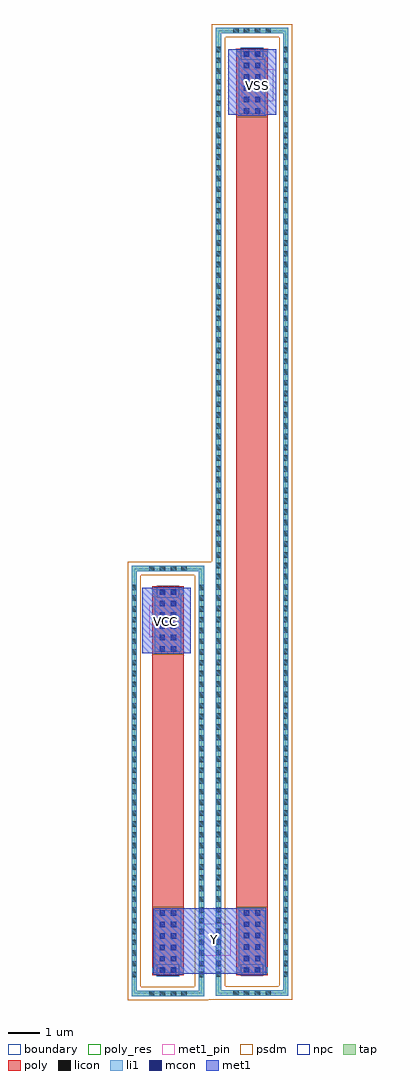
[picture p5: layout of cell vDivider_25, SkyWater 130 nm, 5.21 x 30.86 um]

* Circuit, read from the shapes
.subckt vDivider_25 VCC VSS Y
R1 VCC Y sky130_fd_pr__res_generic_po w=1 l=8
R2 VSS Y sky130_fd_pr__res_generic_po w=1 l=25
.ends

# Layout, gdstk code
import gdstk
lib = gdstk.Library(unit=1e-6, precision=1e-09)
def R(c, l, rs):  # rectangles x0, y0, x1, y1
    for r in rs: c.add(gdstk.rectangle(r[:2], r[2:], *l))
def A(c, l, x, y, w, h, nx, ny, dx, dy):  # array of equal rectangles
    R(c, l, [(x+i*dx, y+j*dy, x+i*dx+w, y+j*dy+h) for i in range(nx) for j in range(ny)])
tap = (65, 44)
poly_res = (66, 13)
poly = (66, 20)
licon = (66, 44)
li1 = (67, 20)
mcon = (67, 44)
met1_pin = (68, 16)
met1 = (68, 20)
psdm = (94, 20)
npc = (95, 20)
boundary = (235, 4)

sky130_fd_pr__res_generi = lib.new_cell('sky130_fd_pr__res_generic_po_FHUZEF')
R(sky130_fd_pr__res_generi, tap, [(-1.15,-6.8,1.15,-6.63), (-1.15,-6.63,-0.98,6.63), (0.98,-6.63,1.15,6.63), (-1.15,6.63,1.15,6.8)])
R(sky130_fd_pr__res_generi, poly_res, [(-0.5,-4,0.5,4)])
R(sky130_fd_pr__res_generi, poly, [(-0.5,-6.15,0.5,6.15)])
A(sky130_fd_pr__res_generi, licon, -0.595, -6.8, 0.17, 0.17, 4, 2, 0.34, 13.43)
A(sky130_fd_pr__res_generi, licon, -1.15, -6.205, 0.17, 0.17, 1, 37, 0, 0.34)
A(sky130_fd_pr__res_generi, licon, 0.98, -6.205, 0.17, 0.17, 1, 37, 0, 0.34)
R(sky130_fd_pr__res_generi, licon, [(-0.255,-6.07,-0.085,-5.9), (0.085,-6.07,0.255,-5.9), (-0.255,5.9,-0.085,6.07), (0.085,5.9,0.255,6.07)])
R(sky130_fd_pr__res_generi, li1, [(-1.15,-6.8,1.15,-6.63), (-1.15,-6.63,-0.98,6.63), (0.98,-6.63,1.15,6.63), (-0.5,-6.07,0.5,-5.9), (-0.42,-5.9,0.42,-4.085), (-0.42,4.085,0.42,5.9), (-0.5,5.9,0.5,6.07), (-1.15,6.63,1.15,6.8)])
A(sky130_fd_pr__res_generi, mcon, -0.265, -6.065, 0.17, 0.17, 1, 6, 0, 0.36)
A(sky130_fd_pr__res_generi, mcon, 0.095, -6.065, 0.17, 0.17, 1, 6, 0, 0.36)
A(sky130_fd_pr__res_generi, mcon, -0.265, 4.09, 0.17, 0.17, 1, 6, 0, 0.36)
A(sky130_fd_pr__res_generi, mcon, 0.095, 4.09, 0.17, 0.17, 1, 6, 0, 0.36)
R(sky130_fd_pr__res_generi, met1, [(-0.45,-6.13,0.45,-4.025), (-0.45,4.025,0.45,6.13)])
R(sky130_fd_pr__res_generi, psdm, [(-1.275,-6.925,1.275,-6.505), (-1.275,-6.505,-0.855,6.505), (0.855,-6.505,1.275,6.505), (-1.275,6.505,1.275,6.925)])
R(sky130_fd_pr__res_generi, npc, [(-0.355,-6.17,0.355,-5.8), (-0.355,5.8,0.355,6.17)])
R(sky130_fd_pr__res_generi, boundary, [(-1.065,-6.715,1.065,6.715)])

c_sky130_fd_pr__res_generi = lib.new_cell('sky130_fd_pr__res_generic_po_NSB5VY')
R(c_sky130_fd_pr__res_generi, tap, [(-1.15,-15.3,1.15,-15.13), (-1.15,-15.13,-0.98,15.13), (0.98,-15.13,1.15,15.13), (-1.15,15.13,1.15,15.3)])
R(c_sky130_fd_pr__res_generi, poly_res, [(-0.5,-12.5,0.5,12.5)])
R(c_sky130_fd_pr__res_generi, poly, [(-0.5,-14.65,0.5,14.65)])
A(c_sky130_fd_pr__res_generi, licon, -0.595, -15.3, 0.17, 0.17, 4, 2, 0.34, 30.43)
A(c_sky130_fd_pr__res_generi, licon, -1.15, -14.705, 0.17, 0.17, 1, 87, 0, 0.34)
A(c_sky130_fd_pr__res_generi, licon, 0.98, -14.705, 0.17, 0.17, 1, 87, 0, 0.34)
R(c_sky130_fd_pr__res_generi, licon, [(-0.255,-14.57,-0.085,-14.4), (0.085,-14.57,0.255,-14.4), (-0.255,14.4,-0.085,14.57), (0.085,14.4,0.255,14.57)])
R(c_sky130_fd_pr__res_generi, li1, [(-1.15,-15.3,1.15,-15.13), (-1.15,-15.13,-0.98,15.13), (0.98,-15.13,1.15,15.13), (-0.5,-14.57,0.5,-14.4), (-0.42,-14.4,0.42,-12.585), (-0.42,12.585,0.42,14.4), (-0.5,14.4,0.5,14.57), (-1.15,15.13,1.15,15.3)])
A(c_sky130_fd_pr__res_generi, mcon, -0.265, -14.565, 0.17, 0.17, 1, 6, 0, 0.36)
A(c_sky130_fd_pr__res_generi, mcon, 0.095, -14.565, 0.17, 0.17, 1, 6, 0, 0.36)
A(c_sky130_fd_pr__res_generi, mcon, -0.265, 12.59, 0.17, 0.17, 1, 6, 0, 0.36)
A(c_sky130_fd_pr__res_generi, mcon, 0.095, 12.59, 0.17, 0.17, 1, 6, 0, 0.36)
R(c_sky130_fd_pr__res_generi, met1, [(-0.45,-14.63,0.45,-12.525), (-0.45,12.525,0.45,14.63)])
R(c_sky130_fd_pr__res_generi, psdm, [(-1.275,-15.425,1.275,-15.005), (-1.275,-15.005,-0.855,15.005), (0.855,-15.005,1.275,15.005), (-1.275,15.005,1.275,15.425)])
R(c_sky130_fd_pr__res_generi, npc, [(-0.355,-14.67,0.355,-14.3), (-0.355,14.3,0.355,14.67)])
R(c_sky130_fd_pr__res_generi, boundary, [(-1.065,-15.215,1.065,15.215)])

vdivider_25 = lib.new_cell('vDivider_25')
R(vdivider_25, met1_pin, [(1.78,3.92,2.78,4.92), (0.21,13.99,1.21,14.99), (3.13,30.94,4.13,31.94)])
R(vdivider_25, met1, [(0.34,3.34,3.91,5.41), (-0.01,13.48,1.52,15.55), (2.7,30.5,4.23,32.57)])
R(vdivider_25, psdm, [(2.075,2.525,2.185,16.365)])
vdivider_25.add(gdstk.Reference(sky130_fd_pr__res_generi, (0.8,9.44)))
vdivider_25.add(gdstk.Reference(c_sky130_fd_pr__res_generi, (3.46,17.95)))
vdivider_25.add(gdstk.Label('VCC', (0.71,14.49), layer=68, texttype=5))
vdivider_25.add(gdstk.Label('VSS', (3.63,31.44), layer=68, texttype=5))
vdivider_25.add(gdstk.Label('Y', (2.28,4.42), layer=68, texttype=5))

lib.write_gds('vDivider_25.gds')
